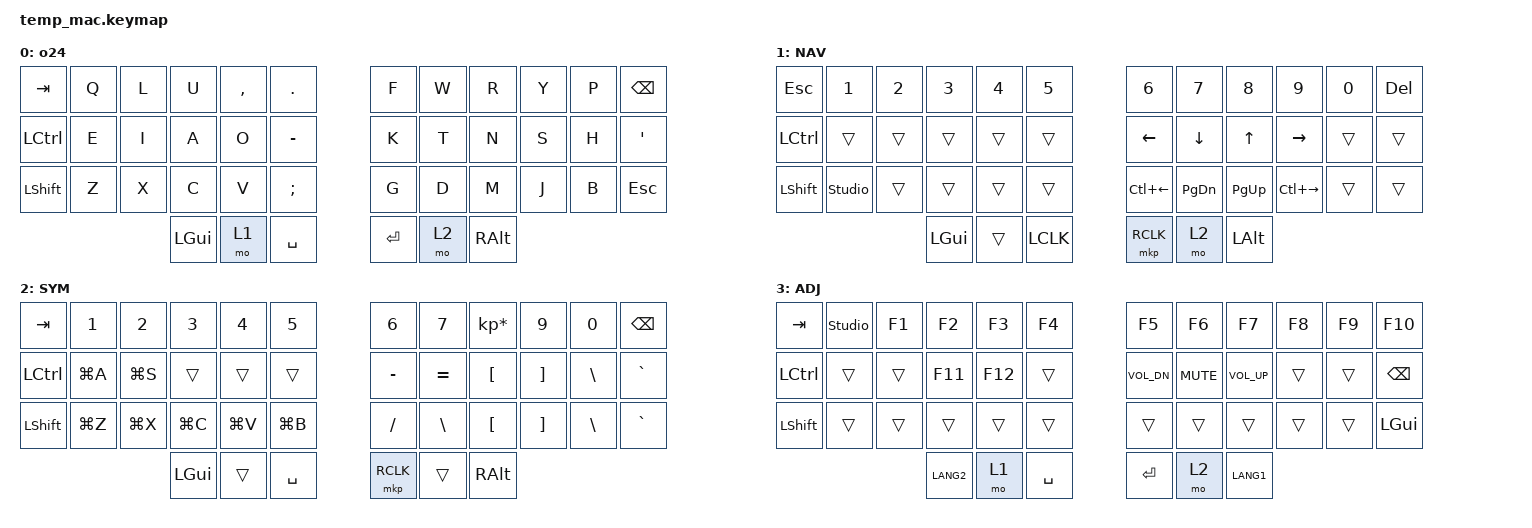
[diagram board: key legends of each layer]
/*
 * Copyright (c) 2020 The ZMK Contributors
 *
 * SPDX-License-Identifier: MIT
 */

#include <behaviors.dtsi>
#include <dt-bindings/zmk/keys.h>
#include <dt-bindings/zmk/bt.h>
#include <dt-bindings/zmk/outputs.h>
#include <dt-bindings/zmk/mouse.h>

/ {
    conditional_layers {
        compatible = "zmk,conditional-layers";
        tri_layer {
            if-layers = <1 2>;
            then-layer = <3>;
        };
    };

    keymap {
        compatible = "zmk,keymap";

        // BASE 繝ｬ繧､繝､繝ｼ: 螟ｧ隘ｿ驟榊・ (o24)
        base {
            display-name = "o24";
            bindings = <
                &kp TAB   &kp Q &kp L &kp U &kp COMMA &kp DOT   &kp F &kp W  &kp R     &kp Y   &kp P    &kp BSPC
                &kp LCTRL &kp E &kp I &kp A &kp O     &kp MINUS &kp K &kp T  &kp N     &kp S   &kp H    &kp SQT
                &kp LSHFT &kp Z &kp X &kp C &kp V     &kp SEMI  &kp G &kp D  &kp M     &kp J   &kp B    &kp ESC
                                &kp LGUI &mo 1 &kp SPACE        &kp RET &mo 2 &kp RALT
            >;
        };

        nav {
            display-name = "NAV";
            bindings = <
                &kp ESC 
                  &kp N1 &kp N2 &kp N3 &kp N4 &kp N5   &kp N6   &kp N7    &kp N8    &kp N9    &kp N0 &kp DEL
                &kp LCTRL &trans &trans &trans &trans &trans   &kp LEFT &kp DOWN  &kp UP    &kp RIGHT &trans &trans
                &kp LSHFT &studio_unlock &trans &trans &trans &trans   &kp LC(LEFT) &kp PG_DN &kp PG_UP &kp LC(RIGHT) &trans &trans
                                 &kp LGUI &trans &kp LCLK        &mkp RCLK &mo 2 &kp LALT
            >;
        };

        sym {
            display-name = "SYM";
            bindings = <
                &kp TAB   &kp N1    &kp N2    &kp N3    &kp N4    &kp N5      &kp N6    &kp N7    &kp KP_MULTIPLY &kp N9    &kp N0   &kp BSPC
                &kp LCTRL &kp LG(A) &kp LG(S) &trans    &trans    &trans      &kp MINUS &kp EQUAL &kp LBKT        &kp RBKT  &kp BSLH &kp GRAVE
                &kp LSHFT &kp LG(Z) &kp LG(X) &kp LG(C) &kp LG(V) &kp LG(B)   &kp SLASH &kp BSLH  &kp LBKT        &kp RBKT  &kp BSLH &kp GRAVE
                                 &kp LGUI &trans &kp SPACE        &mkp RCLK &trans &kp RALT
            >;
        };
        
        adj {
            display-name = "ADJ";
            bindings = <
                &kp TAB   &studio_unlock &kp F1 &kp F2 &kp F3 &kp F4    &kp F5 &kp F6 &kp F7 &kp F8 &kp F9 &kp F10
                &kp LCTRL &trans         &trans &kp F11 &kp F12 &trans  &kp C_VOL_DN &kp C_MUTE &kp C_VOL_UP &trans &trans &kp BSPC
                &kp LSHFT &trans         &trans &trans &trans &trans    &trans       &trans     &trans       &trans &trans &kp LGUI
                                 &kp LANG2 &mo 1 &kp SPACE        &kp RET &mo 2 &kp LANG1
            >;
        };
    };
};
